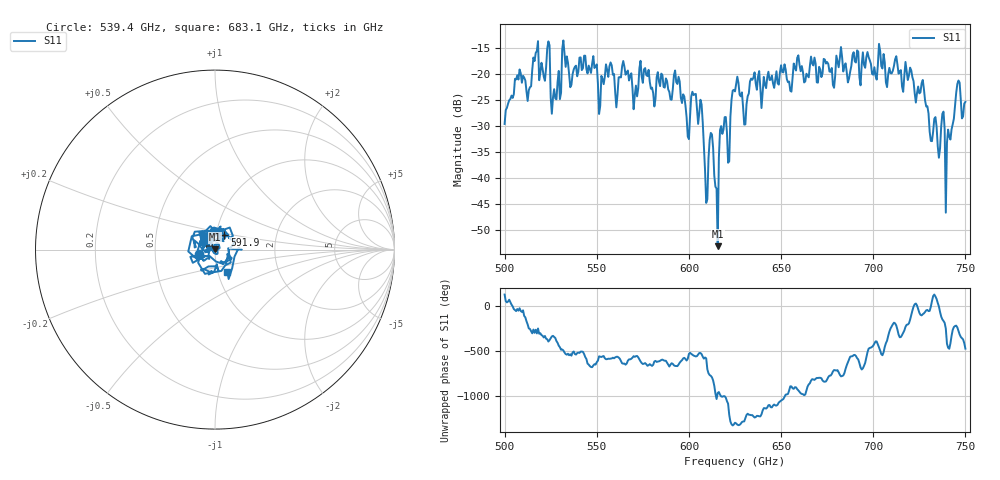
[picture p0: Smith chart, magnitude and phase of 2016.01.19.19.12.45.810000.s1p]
!Created with skrf (http://scikit-rf.org).
# GHz S RI R 50.0
!freq ReS11 ImS11
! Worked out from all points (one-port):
!   401 points, 500 GHz to 750 GHz, reference 50 ohm
!   lowest |S11| = -53.1 dB at 615.6 GHz (marker M1), VSWR 1.00, Z = 49.9 + j0.207 ohm
!   |S11| at or under -10 dB: start of sweep to end of sweep
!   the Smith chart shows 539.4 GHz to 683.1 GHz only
!   S11 on the Smith chart (normalised r, x): 539.4 GHz: 0.83, -0.04; 591.9 GHz: 1.10, +0.18; 683.1 GHz: 1.11, -0.28
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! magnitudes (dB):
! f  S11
! 500 GHz  -29.6
! 513.1 GHz  -23.2
! 516.9 GHz  -16.0
! 523.1 GHz  -15.2
! 526.2 GHz  -24.6
! 531.2 GHz  -15.3
! 539.4 GHz  -20.5
! 562.5 GHz  -20.6
! 591.9 GHz  -20.3
! 593.8 GHz  -22.0
! 599.4 GHz  -32.1
! 603.1 GHz  -23.9
! 606.9 GHz  -25.9
! 609.4 GHz  -44.8
! 611.9 GHz  -31.4
! 615.6 GHz  -53.1
! 618.1 GHz  -31.5
! 621.9 GHz  -36.8
! 625 GHz  -23.4
! 630.6 GHz  -29.7
! 634.4 GHz  -21.2
! 656.2 GHz  -20.6
! 683.1 GHz  -16.9
! 687.5 GHz  -19.6
! 718.8 GHz  -21.2
! 740.6 GHz  -30.7
! 745.6 GHz  -22.0
! 750 GHz  -25.4
